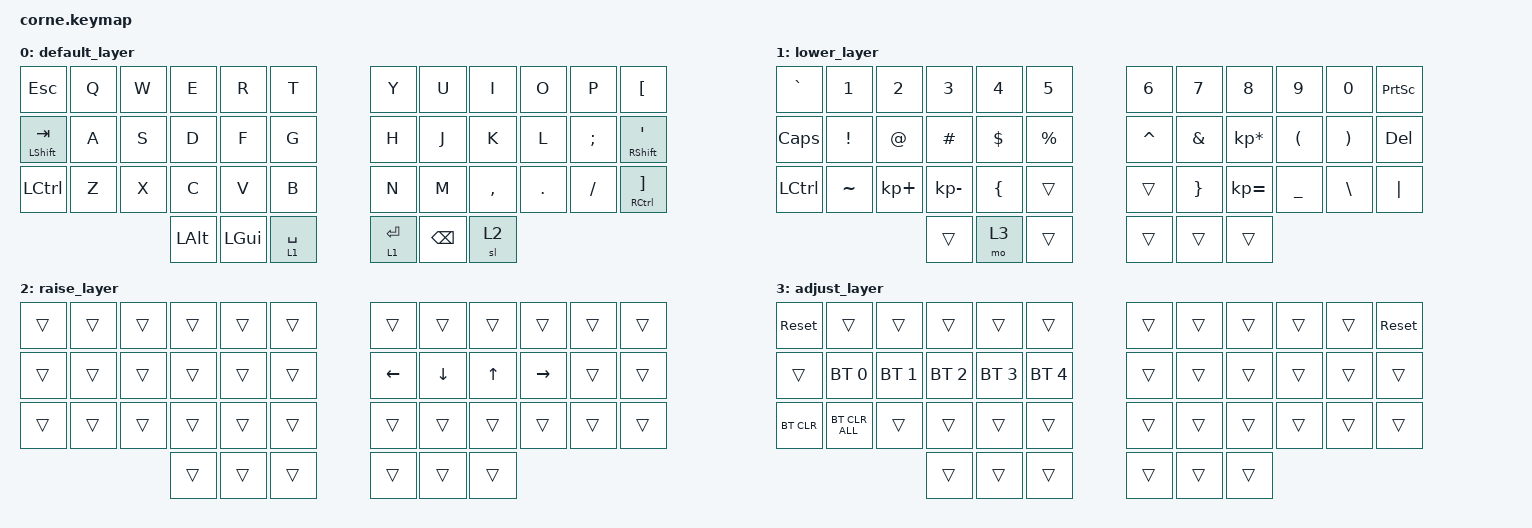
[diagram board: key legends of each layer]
/*
 * Copyright (c) 2020 The ZMK Contributors
 *
 * SPDX-License-Identifier: MIT
 */

#include <behaviors.dtsi>
#include <dt-bindings/zmk/keys.h>
#include <dt-bindings/zmk/bt.h>

#define DEFAULT_L 0
#define SYMBOLS_L 1
#define ARROWS_L  2
#define NUMBERS_L 3


/ {

	behaviors {
        hm: homerow_mods {
            compatible = "zmk,behavior-hold-tap";
            label = "HOMEROW_MODS";
            #binding-cells = <2>;
            tapping-term-ms = <300>;
            quick-tap-ms = <200>;
            flavor = "tap-preferred";
            bindings = <&kp>, <&kp>;
        };
    };
        keymap {
                compatible = "zmk,keymap";

        default_layer {
            bindings = <
&kp ESC        &kp Q  &kp W  &kp E     &kp R         &kp T          &kp Y        &kp U     &kp I      &kp O    &kp P     &kp LBKT
&mt LSHFT TAB  &kp A  &kp S  &kp D     &kp F         &kp G          &kp H        &kp J     &kp K      &kp L    &kp SEMI  &mt RIGHT_SHIFT SQT
&kp LCTRL      &kp Z  &kp X  &kp C     &kp V         &kp B          &kp N        &kp M     &kp COMMA  &kp DOT  &kp FSLH  &mt RCTRL RBKT
                             &kp LALT  &kp LEFT_GUI  &lt 1 SPACE    &lt 1 ENTER  &kp BSPC  &sl 2
            >;
        };

        lower_layer {
            bindings = <
&kp GRAVE     &kp N1     &kp N2       &kp N3        &kp N4          &kp N5       &kp N6     &kp N7           &kp N8           &kp N9          &kp N0         &kp PRINTSCREEN
&kp CAPSLOCK  &kp EXCL   &kp AT       &kp HASH      &kp DLLR        &kp PRCNT    &kp CARET  &kp AMPS         &kp KP_MULTIPLY  &kp LPAR        &kp RPAR       &kp DEL
&kp LCTRL     &kp TILDE  &kp KP_PLUS  &kp KP_MINUS  &kp LEFT_BRACE  &trans       &trans     &kp RIGHT_BRACE  &kp KP_EQUAL     &kp UNDERSCORE  &kp BACKSLASH  &kp PIPE
                                      &trans        &mo 3           &trans       &trans     &trans           &trans
            >;
        };

        raise_layer {
            bindings = <
&trans  &trans  &trans  &trans  &trans  &trans    &trans    &trans    &trans  &trans     &trans  &trans
&trans  &trans  &trans  &trans  &trans  &trans    &kp LEFT  &kp DOWN  &kp UP  &kp RIGHT  &trans  &trans
&trans  &trans  &trans  &trans  &trans  &trans    &trans    &trans    &trans  &trans     &trans  &trans
                        &trans  &trans  &trans    &trans    &trans    &trans
            >;
        };

        adjust_layer {
            bindings = <
&sys_reset  &trans          &trans        &trans        &trans        &trans          &trans  &trans  &trans  &trans  &trans  &sys_reset
&trans      &bt BT_SEL 0    &bt BT_SEL 1  &bt BT_SEL 2  &bt BT_SEL 3  &bt BT_SEL 4    &trans  &trans  &trans  &trans  &trans  &trans
&bt BT_CLR  &bt BT_CLR_ALL  &trans        &trans        &trans        &trans          &trans  &trans  &trans  &trans  &trans  &trans
                                          &trans        &trans        &trans          &trans  &trans  &trans
            >;
        };


        };
};
